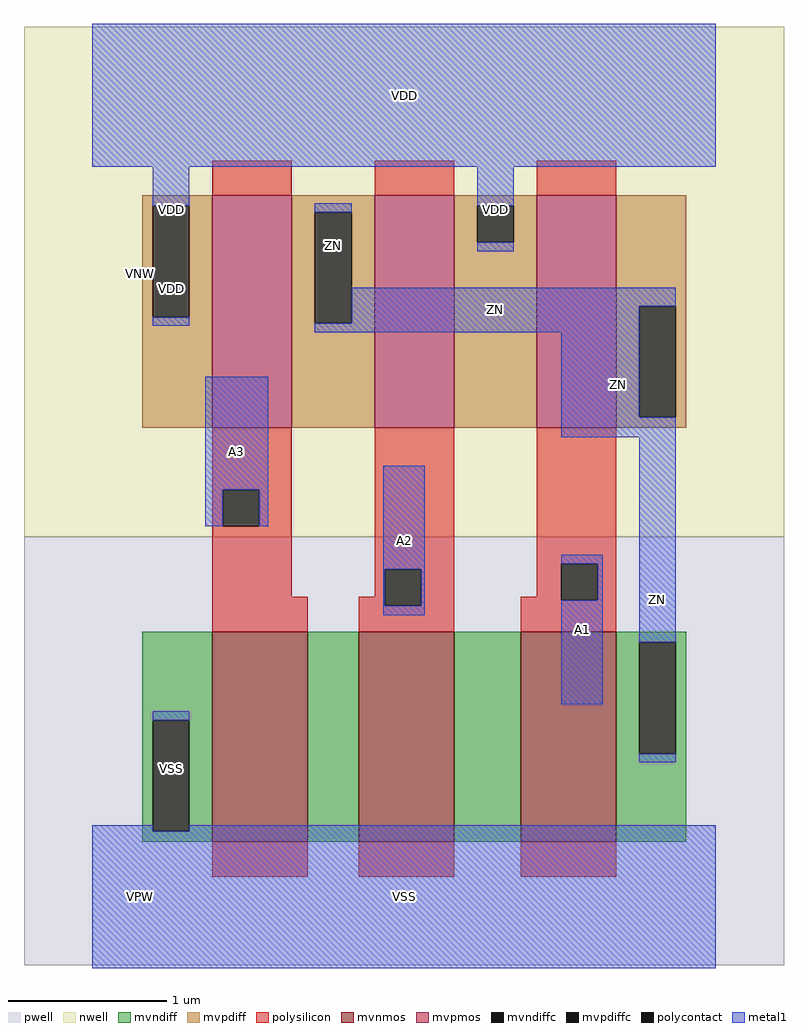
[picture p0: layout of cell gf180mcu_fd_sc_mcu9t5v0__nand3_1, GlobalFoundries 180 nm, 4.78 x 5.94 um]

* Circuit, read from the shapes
.subckt gf180mcu_fd_sc_mcu9t5v0__nand3_1 A1 A2 A3 ZN VDD VNW VPW VSS
XM1 n1 A3 VSS VPW nfet_06v0 w=1.32u l=0.6u
XM2 n2 A2 n1 VPW nfet_06v0 w=1.32u l=0.6u
XM3 ZN A1 n2 VPW nfet_06v0 w=1.32u l=0.6u
XM4 ZN A3 VDD VNW pfet_06v0 w=1.46u l=0.5u
XM5 VDD A2 ZN VNW pfet_06v0 w=1.46u l=0.5u
XM6 ZN A1 VDD VNW pfet_06v0 w=1.46u l=0.5u
.ends

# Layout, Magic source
magic
tech gf180mcuD
magscale 1 10
<< nwell >>
rect -86 453 870 1094
<< pwell >>
rect -86 -86 870 453
<< mvnmos >>
rect 151 69 271 333
rect 335 69 455 333
rect 539 69 659 333
<< mvpmos >>
rect 151 590 251 882
rect 355 590 455 882
rect 559 590 659 882
<< mvndiff >>
rect 63 222 151 333
rect 63 82 76 222
rect 122 82 151 222
rect 63 69 151 82
rect 271 69 335 333
rect 455 69 539 333
rect 659 320 747 333
rect 659 180 688 320
rect 734 180 747 320
rect 659 69 747 180
<< mvpdiff >>
rect 63 869 151 882
rect 63 729 76 869
rect 122 729 151 869
rect 63 590 151 729
rect 251 861 355 882
rect 251 721 280 861
rect 326 721 355 861
rect 251 590 355 721
rect 455 869 559 882
rect 455 823 484 869
rect 530 823 559 869
rect 455 590 559 823
rect 659 743 747 882
rect 659 603 688 743
rect 734 603 747 743
rect 659 590 747 603
<< mvndiffc >>
rect 76 82 122 222
rect 688 180 734 320
<< mvpdiffc >>
rect 76 729 122 869
rect 280 721 326 861
rect 484 823 530 869
rect 688 603 734 743
<< polysilicon >>
rect 151 882 251 926
rect 355 882 455 926
rect 559 882 659 926
rect 151 512 251 590
rect 151 466 164 512
rect 210 466 251 512
rect 151 377 251 466
rect 355 412 455 590
rect 355 377 368 412
rect 151 333 271 377
rect 335 366 368 377
rect 414 366 455 412
rect 559 419 659 590
rect 559 377 590 419
rect 335 333 455 366
rect 539 373 590 377
rect 636 373 659 419
rect 539 333 659 373
rect 151 25 271 69
rect 335 25 455 69
rect 539 25 659 69
<< polycontact >>
rect 164 466 210 512
rect 368 366 414 412
rect 590 373 636 419
<< metal1 >>
rect 0 918 784 1098
rect 76 869 122 918
rect 76 718 122 729
rect 280 861 326 872
rect 484 869 530 918
rect 484 812 530 823
rect 326 743 734 766
rect 326 721 688 743
rect 280 710 688 721
rect 142 512 221 654
rect 590 603 688 710
rect 590 578 734 603
rect 142 466 164 512
rect 210 466 221 512
rect 366 412 418 542
rect 366 366 368 412
rect 414 366 418 412
rect 366 354 418 366
rect 590 419 642 430
rect 636 373 642 419
rect 590 242 642 373
rect 688 320 734 578
rect 76 222 122 233
rect 0 82 76 90
rect 688 169 734 180
rect 122 82 784 90
rect 0 -90 784 82
<< labels >>
flabel metal1 s 590 242 642 430 0 FreeSans 200 0 0 0 A1
port 1 nsew default input
flabel metal1 s 366 354 418 542 0 FreeSans 200 0 0 0 A2
port 2 nsew default input
flabel metal1 s 142 466 221 654 0 FreeSans 200 0 0 0 A3
port 3 nsew default input
flabel metal1 s 0 918 784 1098 0 FreeSans 200 0 0 0 VDD
port 5 nsew power bidirectional abutment
flabel metal1 s 76 90 122 233 0 FreeSans 200 0 0 0 VSS
port 8 nsew ground bidirectional abutment
flabel metal1 s 280 766 326 872 0 FreeSans 200 0 0 0 ZN
port 4 nsew default output
flabel nwell s 10 734 110 834 0 FreeSans 400 0 0 0 VNW
port 6 nsew power bidirectional
flabel pwell s 10 -50 110 50 0 FreeSans 400 0 0 0 VPW
port 7 nsew ground bidirectional
rlabel metal1 s 280 710 734 766 1 ZN
port 4 nsew default output
rlabel metal1 s 590 578 734 710 1 ZN
port 4 nsew default output
rlabel metal1 s 688 169 734 578 1 ZN
port 4 nsew default output
rlabel metal1 s 484 812 530 918 1 VDD
port 5 nsew power bidirectional abutment
rlabel metal1 s 76 812 122 918 1 VDD
port 5 nsew power bidirectional abutment
rlabel metal1 s 76 718 122 812 1 VDD
port 5 nsew power bidirectional abutment
rlabel metal1 s 0 -90 784 90 1 VSS
port 8 nsew ground bidirectional abutment
<< properties >>
string FIXED_BBOX 0 0 784 1008
string GDS_END 47238
string GDS_FILE $PDKPATH/libs.ref/gf180mcu_fd_sc_mcu9t5v0/gds/gf180mcu_fd_sc_mcu9t5v0.gds
string GDS_START 44164
string LEFclass core
string LEFsite GF018hv5v_green_sc9
string LEFsymmetry X Y
<< end >>
